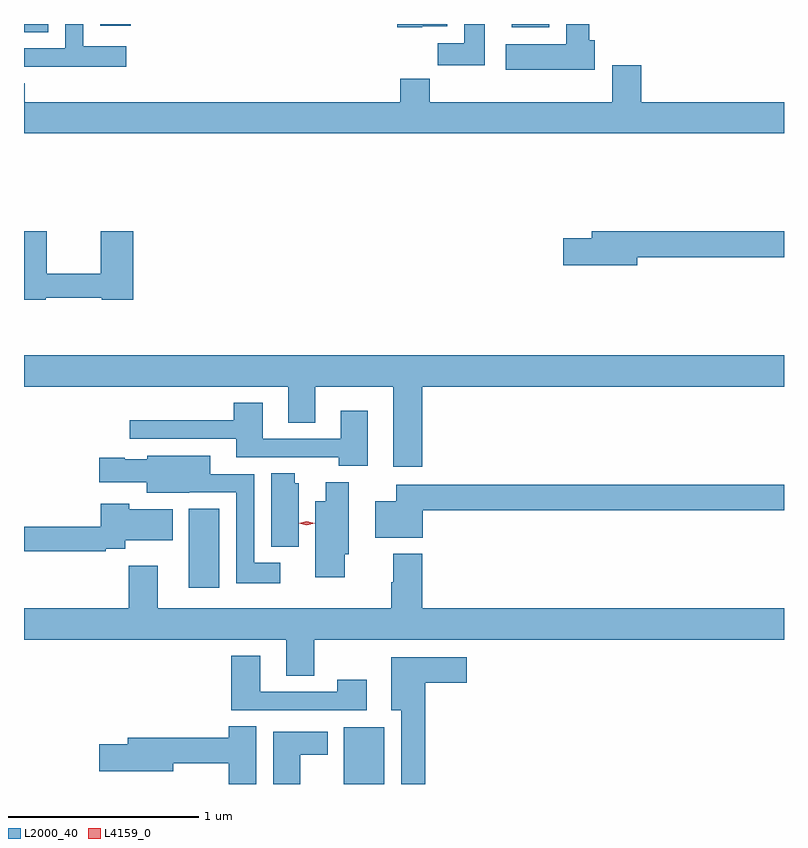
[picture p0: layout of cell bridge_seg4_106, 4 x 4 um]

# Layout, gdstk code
import gdstk
lib = gdstk.Library(unit=1e-6, precision=1e-09)
def R(c, l, rs):  # rectangles x0, y0, x1, y1
    for r in rs: c.add(gdstk.rectangle(r[:2], r[2:], *l))
def P(c, l, *ps):  # polygons
    for p in ps: c.add(gdstk.Polygon(p, *l))
L2000_40 = (2000, 40)
L4159_0 = (4159, 0)

bridge_seg4_106 = lib.new_cell('bridge_seg4_106')
R(bridge_seg4_106, L2000_40, [(577.1,770.752,577.312,771.052), (576.284,771.786,576.445,772.201), (575.417,774.709,575.545,774.752), (577.985,774.734,578.182,774.752), (575.819,774.744,575.98,774.752)])
P(bridge_seg4_106, L2000_40, [(578.422,774.666),(578.392,774.666),(578.392,774.752),(578.27,774.752),(578.27,774.646),(577.953,774.646),(577.953,774.512),(578.422,774.512)],
  [(575.956,774.634),(575.73,774.634),(575.73,774.752),(575.634,774.752),(575.634,774.624),(575.417,774.624),(575.417,774.528),(575.537,774.528),(575.537,774.527),(575.956,774.527)],
  [(577.512,774.74),(577.645,774.74),(577.645,774.752),(577.382,774.752),(577.382,774.734),(577.512,774.734)],
  [(577.843,774.752),(577.733,774.752),(577.733,774.652),(577.594,774.652),(577.594,774.534),(577.843,774.534)],
  [(579.417,774.34),(578.666,774.34),(578.666,774.535),(578.513,774.535),(578.513,774.34),(577.553,774.34),(577.553,774.464),(577.397,774.464),(577.397,774.34),(575.42,774.34),(575.42,774.439),(575.417,774.439),(575.417,774.176),(579.417,774.176)],
  [(575.532,773.31),(575.826,773.31),(575.826,773.302),(575.993,773.302),(575.993,773.662),(575.822,773.662),(575.822,773.438),(575.536,773.438),(575.536,773.662),(575.417,773.662),(575.417,773.302),(575.532,773.302)],
  [(578.644,773.524),(579.417,773.524),(579.417,773.66),(578.405,773.66),(578.405,773.624),(578.256,773.624),(578.256,773.482),(578.644,773.482)],
  [(577.514,772.844),(579.417,772.844),(579.417,773.008),(575.417,773.008),(575.417,772.844),(576.809,772.844),(576.809,772.654),(576.949,772.654),(576.949,772.844),(577.361,772.844),(577.361,772.422),(577.514,772.422)],
  [(577.225,772.717),(577.085,772.717),(577.085,772.569),(576.673,772.569),(576.673,772.759),(576.521,772.759),(576.521,772.666),(575.973,772.666),(575.973,772.569),(576.533,772.569),(576.533,772.473),(577.073,772.473),(577.073,772.426),(577.225,772.426)],
  [(576.766,771.916),(576.63,771.916),(576.63,772.383),(576.397,772.383),(576.397,772.48),(576.066,772.48),(576.066,772.462),(575.946,772.462),(575.946,772.47),(575.814,772.47),(575.814,772.34),(576.062,772.34),(576.062,772.286),(576.288,772.286),(576.288,772.287),(576.534,772.287),(576.534,771.809),(576.766,771.809)],
  [(576.862,772.335),(576.841,772.335),(576.841,772.388),(576.719,772.388),(576.719,772.001),(576.862,772.001)],
  [(577.105,771.96),(577.126,771.96),(577.126,772.341),(577.004,772.341),(577.004,772.24),(576.95,772.24),(576.95,771.84),(577.105,771.84)],
  [(577.516,772.192),(579.417,772.192),(579.417,772.328),(577.376,772.328),(577.376,772.24),(577.265,772.24),(577.265,772.049),(577.516,772.049)],
  [(575.846,771.99),(575.95,771.99),(575.95,772.034),(576.199,772.034),(576.199,772.198),(575.97,772.198),(575.97,772.228),(575.822,772.228),(575.822,772.106),(575.417,772.106),(575.417,771.978),(575.846,771.978)],
  [(576.945,771.512),(579.417,771.512),(579.417,771.676),(577.514,771.676),(577.514,771.964),(577.361,771.964),(577.361,771.815),(577.349,771.815),(577.349,771.676),(576.121,771.676),(576.121,771.901),(575.969,771.901),(575.969,771.676),(575.417,771.676),(575.417,771.512),(576.797,771.512),(576.797,771.322),(576.945,771.322)],
  [(577.222,771.301),(577.066,771.301),(577.066,771.237),(576.661,771.237),(576.661,771.427),(576.509,771.427),(576.509,771.141),(577.222,771.141)],
  [(577.529,771.284),(577.747,771.284),(577.747,771.418),(577.349,771.418),(577.349,771.14),(577.403,771.14),(577.403,770.752),(577.529,770.752)],
  [(576.64,771.056),(576.494,771.056),(576.494,770.996),(575.963,770.996),(575.963,770.96),(575.814,770.96),(575.814,770.818),(576.202,770.818),(576.202,770.86),(576.494,770.86),(576.494,770.752),(576.64,770.752)],
  [(576.871,770.906),(577.015,770.906),(577.015,771.028),(576.728,771.028),(576.728,770.752),(576.871,770.752)])
P(bridge_seg4_106, L4159_0, [(576.905,772.114),(576.864,772.124),(576.864,772.124),(576.864,772.124),(576.905,772.134),(576.946,772.124),(576.946,772.124),(576.946,772.124)])

lib.write_gds('bridge_seg4_106.gds')
